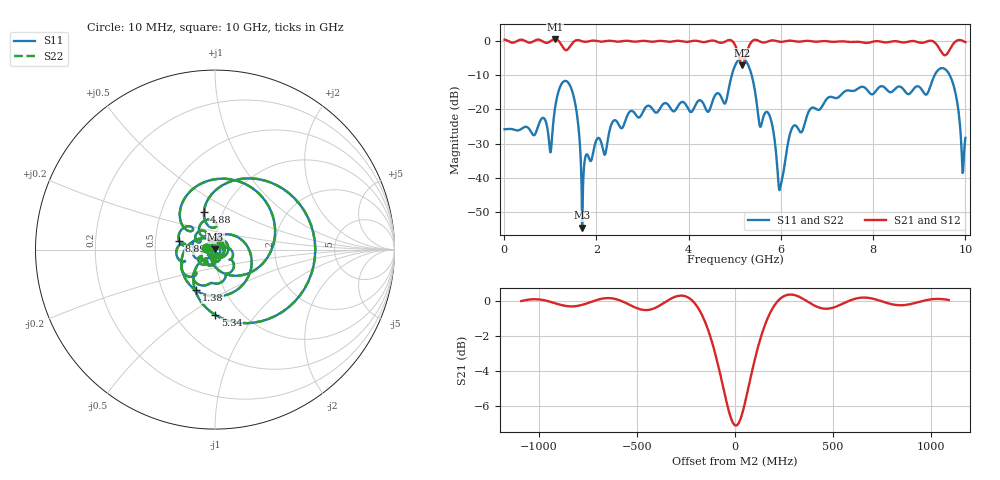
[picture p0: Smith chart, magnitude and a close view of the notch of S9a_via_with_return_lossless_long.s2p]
! kicad_em_sim: S-parameters of 2 ports, openEMS
# Hz S RI R 50
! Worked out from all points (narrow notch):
!   1000 points, 10 MHz to 10 GHz, reference 50 ohm
!   highest |S21| = 0.60 dB at 1.1 GHz (marker M1); lowest = -7.1 dB at 5.16 GHz (marker M2)
!   notch at M2: 7.0 dB deep, 182 MHz wide at half that depth
!   lowest |S11| = -54.6 dB at 1.69 GHz (marker M3), VSWR 1.00, Z = 50.2 + j0.0975 ohm
!   |S11| at or under -10 dB: start of sweep to 4.935 GHz; 5.367 GHz to 9.333 GHz (3.966 GHz wide, 54 % of centre); 9.661 GHz to end of sweep
!   |S22| runs from -54.6 to -5.1 dB; largest |S21 - S12| = 1.1e-06
!   S11 on the Smith chart (normalised r, x): 10 MHz: 0.90, +0.02; 1.38 GHz: 0.74, -0.36; 4.88 GHz: 0.81, +0.36; 5.34 GHz: 0.77, -0.65; 8.89 GHz: 0.67, +0.07; 10 GHz: 1.06, +0.05
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1e7  -0.0504 0.00939  1.05 -0.022  1.05 -0.022  -0.0504 0.00939
1e9  -0.0212 -0.0102  0.3296 -0.938  0.3296 -0.938  -0.0212 -0.0102
1.1e9  0.0549 0.0847  0.135 -1.063  0.135 -1.063  0.0549 0.0847
1.38e9  -0.106 -0.2271  -0.0439 -0.7583  -0.0439 -0.7583  -0.106 -0.2271
1.56e9  -0.0819 0.0617  -0.2766 -0.9902  -0.2766 -0.9902  -0.0819 0.0617
1.68e9  0.00284 0.00609  -0.4912 -0.8737  -0.4912 -0.8737  0.00284 0.00609
1.69e9  0.00158 0.000972  -0.5003 -0.8626  -0.5003 -0.8626  0.00158 0.000972
2.6e9  0.00162 -0.0604  -1.002 0.1026  -1.002 0.1026  0.00162 -0.0604
3.34e9  -0.081 -0.0473  -0.5067 0.8668  -0.5067 0.8668  -0.081 -0.0473
4.11e9  -0.0947 0.0397  0.4506 0.9062  0.4506 0.9062  -0.0947 0.0397
4.88e9  -0.0617 0.2093  1.039 0.00147  1.039 0.00147  -0.0617 0.2093
5.01e9  0.1997 0.3969  0.7931 -0.3474  0.7931 -0.3474  0.1997 0.3969
5.16e9  0.5565 -0.0446  0.4322 -0.0902  0.4322 -0.0902  0.5565 -0.0446
5.34e9  0.00257 -0.3646  0.9287 0.00241  0.9287 0.00241  0.00257 -0.3646
5.78e9  -0.0709 -0.0142  0.6726 -0.7665  0.6726 -0.7665  -0.0709 -0.0142
5.99e9  0.0038 -0.00621  0.3837 -0.8969  0.3837 -0.8969  0.0038 -0.00621
6.67e9  0.0999 -0.034  -0.474 -0.8734  -0.474 -0.8734  0.0999 -0.034
7.4e9  0.0332 -0.1832  -0.9766 -0.1354  -0.9766 -0.1354  0.0332 -0.1832
8.34e9  -0.1709 -0.0633  -0.504 0.8272  -0.504 0.8272  -0.1709 -0.0633
8.89e9  -0.1993 0.0474  0.2122 0.9768  0.2122 0.9768  -0.1993 0.0474
9.59e9  0.3207 0.1909  0.5032 0.3914  0.5032 0.3914  0.3207 0.1909
1e10  0.0306 0.0231  0.9662 0.0372  0.9662 0.0372  0.0306 0.0231
